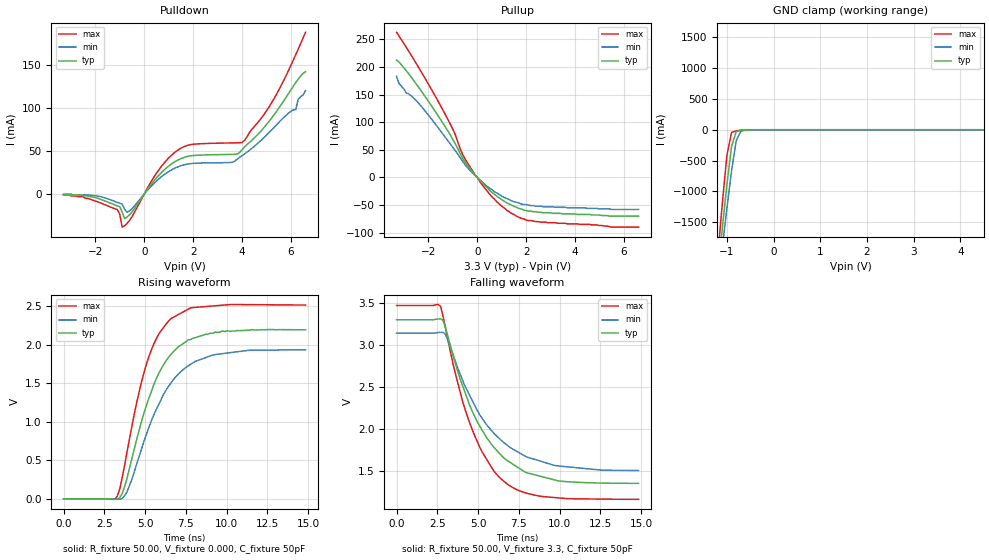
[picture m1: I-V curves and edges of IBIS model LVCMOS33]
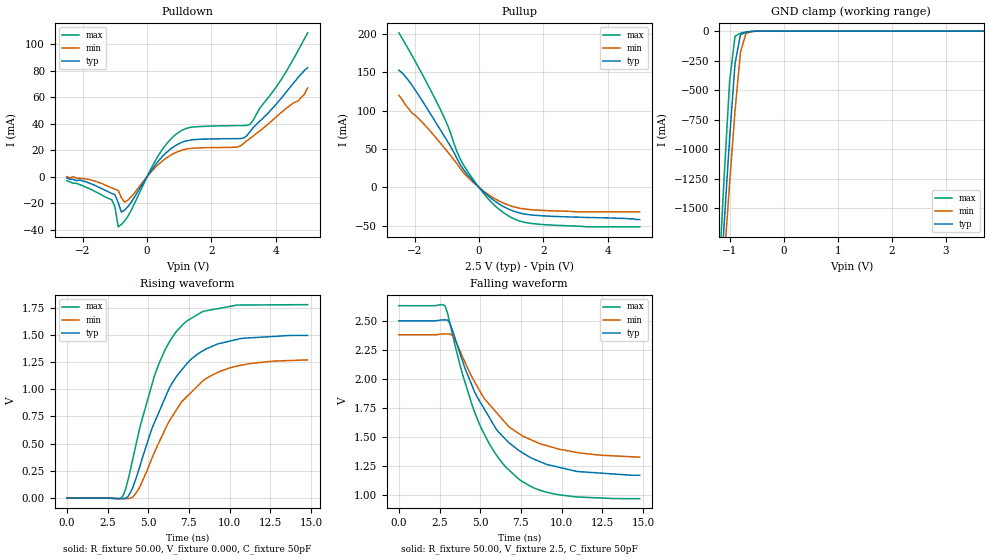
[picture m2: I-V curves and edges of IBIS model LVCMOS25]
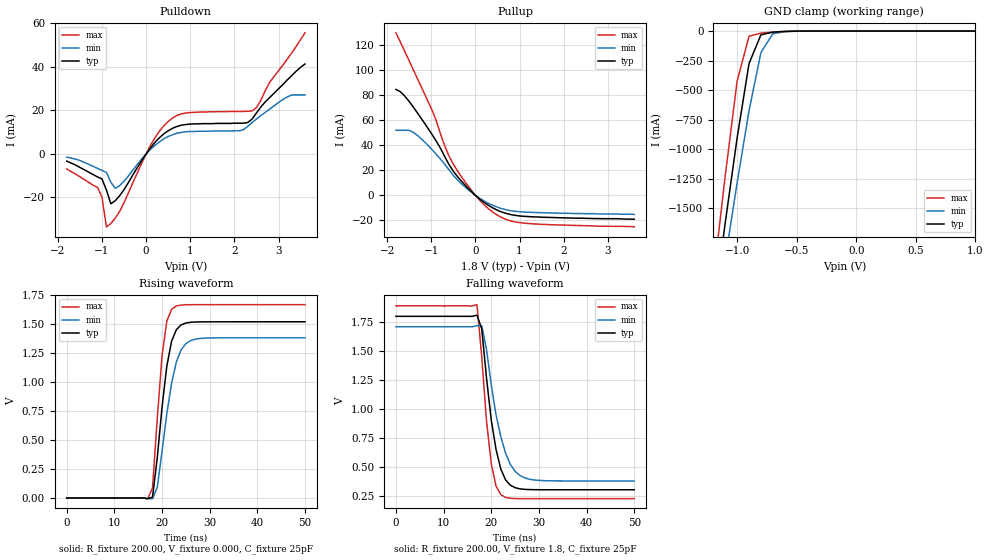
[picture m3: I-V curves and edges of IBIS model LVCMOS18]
|IBIS file ice65_io.ibs
|created by SiliconBlue Technologies Aug 2009
[IBIS ver]   2.1
[File name]   ice65_io.ibs
[File Rev]   1.2
[Date]   09/10/2009
[Source]   Simulation
[Disclaimer]   This information is for modeling purposes only and is not
   guaranteed.
[Copyright]   Copyright 2009, Design Service, SBT, All Rights Reserved.
|   Component ice65_io
[Component]   ice65_io
[Manufacturer]   TSMC
[Package]
| variable   typ   min   max
R_pkg   0.30   0.21   0.39
L_pkg   7.00nH   4.90nH   9.10nH
C_pkg   3.00pF   2.10pF   3.90pF
[Pin]  signal_name   model_name   R_pin   L_pin   C_pin
1   SB_LVCMOS33   LVCMOS33
2   SB_LVCMOS25   LVCMOS25
3   SB_LVCMOS18   LVCMOS18
4   SB_LVCMOS33_8   LVCMOS33_8
5   SB_LVCMOS18_10   LVCMOS18_10
6   SB_LVCMOS18_8   LVCMOS18_8
7   SB_LVCMOS18_4   LVCMOS18_4
8   SB_LVCMOS18_2   LVCMOS18_2
9   SB_LVCMOS15_4   LVCMOS15_4
10   SB_LVCMOS15_2   LVCMOS15_2
11   SB_SSTL18_H   SSTL18_H
12   SB_SSTL18_F   SSTL18_F
13   SB_SSTL2_I   SSTL2_I
14   SB_SSTL2_II   SSTL2_II
15   SB_LVCMOS25_16   LVCMOS25_16
16   SB_LVCMOS25_12   LVCMOS25_12
17   SB_LVCMOS25_8   LVCMOS25_8
18   SB_LVCMOS25_4   LVCMOS25_4
19   MDDR_10   MDDR_10
20   MDDR_8   MDDR_8
21   MDDR_4   MDDR_4
22   MDDR_2   MDDR_2
| Models and submodels in the file (22): LVCMOS33 (I/O), LVCMOS25 (I/O), LVCMOS18 (I/O), LVCMOS33_8 (I/O), LVCMOS18_10 (I/O), LVCMOS18_8 (I/O), LVCMOS18_4 (I/O), LVCMOS18_2 (I/O), LVCMOS15_4 (I/O), LVCMOS15_2 (I/O), SSTL18_H (I/O), SSTL18_F (I/O), SSTL2_I (I/O), SSTL2_II (I/O), LVCMOS25_16 (I/O), LVCMOS25_12 (I/O), LVCMOS25_8 (I/O), LVCMOS25_4 (I/O), MDDR_10 (I/O), MDDR_8 (I/O), MDDR_4 (I/O), MDDR_2 (I/O)
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|   Model LVCMOS33
[Model]   LVCMOS33
Model_type   I/O
Polarity   Non-Inverting
Enable   Active-High
Vinl =   0.80V
Vinh =   2.00V
Vmeas =   1.65V
Cref =  15.00pF
Rref =   1.00M
Vref =  0.000V
C_comp   1.30pF   1.17pF   1.43pF
[Temperature Range]   25.00   85   -40.00
[Voltage Range]   3.30V   3.14V   3.47V
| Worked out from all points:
|   slope of the pulldown table from 0 to 0.495 V, typ, clamps not added: 26.7 ohm
|   slope of the pullup table from 0 to 0.495 V, typ, clamps not added: 21.8 ohm
|   GND clamp passes 1 mA (typ) near -0.51 V on its own axis
|   rising waveform, R_fixture 50.00, V_fixture 0.000, C_fixture 50pF: 20-80 % time 2.08ns typ, 2.35ns min, 1.74ns max; typ from 0 V to 2.19 V
|   falling waveform, R_fixture 50.00, V_fixture 3.3, C_fixture 50pF: 20-80 % time 2.75ns typ, 3.03ns min, 2.37ns max; typ from 3.3 V to 1.35 V
[Pulldown]
| voltage I(typ) I(min) I(max)
-3.3V     -1mA       0A         -1mA
-1.1V     -13.7mA    -9.7mA     -17.9mA
-900mV    -20.9mA    -11.5mA    -38.3mA
-800mV    -28.3mA    -17.5mA    -36.6mA
-500mV    -20.8mA    -17mA      -26.2mA
500mV     18.7mA     15.1mA     24.1mA
1.3V      38.3mA     30.7mA     49.4mA
3.6V      46mA       36.9mA     59.3mA
4.1V      54.6mA     46.5mA     62.1mA
5.3V      91.5mA     77mA       110.1mA
6.2V      129.3mA    97.9mA     161.7mA
6.6V      141.8mA    120mA      187.5mA
[Pullup]
| voltage I(typ) I(min) I(max)
-3.3V     212.8mA    183.3mA    263mA
-3.2V     209mA      170.3mA    256.2mA
-2.9V     193.3mA    153.3mA    235.6mA
-2.4V     163.6mA    134.6mA    199.6mA
-1.5V     105mA      84.3mA     130mA
-1V       69mA       54.7mA     87.7mA
-500mV    27.6mA     23.2mA     33.6mA
300mV     -14mA      -12mA      -19mA
1V        -40mA      -34mA      -52mA
1.6V      -54mA      -45mA      -70mA
2.1V      -61mA      -50mA      -78mA
6.6V      -70mA      -58mA      -90mA
[GND_clamp]
| voltage I(typ) I(min) I(max)
-3.3V     -19.03A    -17.26A    -21.67A
-1.2V     -2.378A    -2.602A    -2.099A
-1.1V     -1.626A    -1.936A    -1.226A
-1V       -905.6mA   -1.288A    -424.1mA
-900mV    -275.9mA   -675.9mA   -43.8mA
-800mV    -31.9mA    -182.3mA   -17.3mA
-700mV    -9.5mA     -22.8mA    -8.9mA
-500mV    -800uA     -1.5mA     -300uA
6.1V      0A         0A         6.59mA
6.2V      0A         0A         193mA
6.5V      7.38mA     0A         1.845A
6.6V      130mA      0A         2.465A
[POWER_clamp]
| voltage I(typ) I(min) I(max)
-3.3V     0A         0A         0A
-3.2V     0A         0A         0A
-3.1V     0A         0A         0A
0V        0A         0A         0A
[Ramp]
| variable   typ   min   max
dV/dt_r   1.3147/2.082n   1.2408/2.27n   1.0674/1.1934n
dV/dt_f   1.1713/3.2834n   0.9855/3.5146n   1.50/3.97n
R_load = 50
[Rising Waveform]
R_fixture = 50.00
V_fixture = 0.000
V_fixture_min = 0.000
V_fixture_max = 0.000
L_fixture = 0.000H
C_fixture = 50pF
| time   V(typ)   V(min)   V(max)
0s        0V         0V         0V
3.3ns     -5mV       -5mV       35.6mV
3.9ns     270.1mV    93.4mV     611.4mV
4.5ns     780.3mV    457.2mV    1.255V
5.1ns     1.218V     845.6mV    1.754V
5.85ns    1.628V     1.227V     2.137V
6.6ns     1.874V     1.505V     2.337V
7.65ns    2.059V     1.723V     2.458V
9.15ns    2.145V     1.864V     2.499V
14.85ns   2.191V     1.932V     2.511V
[Falling Waveform]
R_fixture = 50.00
V_fixture = 3.3
V_fixture_min = 3.14
V_fixture_max = 3.47
L_fixture = 0.000H
C_fixture = 50pF
| time   V(typ)   V(min)   V(max)
0s        3.3V       3.14V      3.47V
2.7ns     3.311V     3.15V      3.462V
3ns       3.209V     3.126V     3.204V
3.6ns     2.785V     2.809V     2.667V
4.5ns     2.274V     2.392V     2.063V
5.85ns    1.808V     1.975V     1.533V
6.75ns    1.627V     1.81V      1.348V
7.95ns    1.478V     1.667V     1.233V
9.9ns     1.38V      1.558V     1.177V
14.85ns   1.349V     1.502V     1.159V
|   Model LVCMOS25
[Model]   LVCMOS25
Model_type   I/O
Polarity   Non-Inverting
Enable   Active-High
Vinl =   0.70V
Vinh =   1.70V
Vmeas =   1.25V
Cref =  15.00pF
Rref =   1.00M
Vref =  0.000V
C_comp   1.30pF   1.17pF   1.43pF
[Temperature Range]   25.00   85   -40.00
[Voltage Range]   2.5V   2.38V   2.63V
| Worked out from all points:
|   slope of the pulldown table from 0 to 0.375 V, typ, clamps not added: 30.1 ohm
|   slope of the pullup table from 0 to 0.375 V, typ, clamps not added: 26.3 ohm
|   GND clamp passes 1 mA (typ) near -0.51 V on its own axis
|   rising waveform, R_fixture 50.00, V_fixture 0.000, C_fixture 50pF: 20-80 % time 2.66ns typ, 3.02ns min, 2.21ns max; typ from 0 V to 1.5 V
|   falling waveform, R_fixture 50.00, V_fixture 2.5, C_fixture 50pF: 20-80 % time 3.18ns typ, 3.32ns min, 2.79ns max; typ from 2.5 V to 1.17 V
[Pulldown]
| voltage I(typ) I(min) I(max)
-2.5V     -1mA       0A         -3mA
-1.1V     -12.7mA    -8.5mA     -17.4mA
-1V       -13.6mA    -9.5mA     -22.9mA
-900mV    -19.7mA    -10.4mA    -37.9mA
-800mV    -26.8mA    -15.9mA    -36.1mA
-600mV    -22.7mA    -17.8mA    -30mA
200mV     7.1mA      5.5mA      9.7mA
800mV     22.1mA     17.1mA     29.9mA
1.4V      27.8mA     21.4mA     37.4mA
2.8V      28.7mA     22.3mA     38.6mA
3.2V      33.8mA     28.8mA     39.5mA
5V        82.3mA     67mA       108.6mA
[Pullup]
| voltage I(typ) I(min) I(max)
-2.5V     152.9mA    120mA      201.6mA
-2.1V     133.8mA    97.5mA     172.7mA
-1.2V     74.7mA     57.5mA     101.2mA
-900mV    54.2mA     42.2mA     72.5mA
-700mV    38.5mA     31.5mA     47.7mA
-500mV    24.1mA     20mA       30.2mA
100mV     -4.2mA     -3.5mA     -5.8mA
600mV     -21mA      -17.2mA    -27.8mA
1.1V      -31.3mA    -25.5mA    -41.2mA
1.6V      -35.8mA    -28.9mA    -46.8mA
3.4V      -39.2mA    -31.8mA    -51.4mA
5V        -41.9mA    -31.8mA    -51.4mA
[GND_clamp]
| voltage I(typ) I(min) I(max)
-2.5V     -12.64A    -11.63A    -14.16A
-1.2V     -2.378A    -2.601A    -2.1A
-1.1V     -1.627A    -1.935A    -1.227A
-1V       -905.8mA   -1.287A    -424.6mA
-900mV    -276.1mA   -675.7mA   -44.1mA
-800mV    -31.9mA    -182.1mA   -17.5mA
-700mV    -9.5mA     -22.7mA    -8.9mA
-600mV    -3.9mA     -5.2mA     -2.9mA
-500mV    -800uA     -1.5mA     -300uA
5V        0A         0A         0A
[POWER_clamp]
| voltage I(typ) I(min) I(max)
-2.5V     0A         0A         0A
-2.4V     0A         0A         0A
-2.3V     0A         0A         0A
0V        0A         0A         0A
[Ramp]
| variable   typ   min   max
dV/dt_r   0.8965/2.6578n   0.7631/3.029n   1.0674/2.209n
dV/dt_f   0.7970/3.688n   0.6332/3.60n   0.996/3.349n
R_load = 50
[Rising Waveform]
R_fixture = 50.00
V_fixture = 0.000
V_fixture_min = 0.000
V_fixture_max = 0.000
L_fixture = 0.000H
C_fixture = 50pF
| time   V(typ)   V(min)   V(max)
0s        0V         0V         0V
3.45ns    -4mV       -4mV       21.1mV
3.9ns     49.6mV     -1mV       254.4mV
4.35ns    225mV      68.7mV     556.9mV
5.4ns     699.3mV    427.1mV    1.131V
6.3ns     1.012V     709.4mV    1.435V
7.35ns    1.231V     928.3mV    1.625V
8.4ns     1.357V     1.083V     1.716V
10ns      1.443V     1.196V     1.761V
14.8ns    1.495V     1.27V      1.777V
[Falling Waveform]
R_fixture = 50.00
V_fixture = 2.5
V_fixture_min = 2.38
V_fixture_max = 2.63
L_fixture = 0.000H
C_fixture = 50pF
| time   V(typ)   V(min)   V(max)
0s        2.5V       2.38V      2.63V
2.85ns    2.508V     2.387V     2.627V
3ns       2.506V     2.388V     2.562V
3.3ns     2.416V     2.374V     2.382V
3.9ns     2.16V      2.195V     2.046V
4.95ns    1.813V     1.903V     1.612V
6ns       1.565V     1.711V     1.344V
7.35ns    1.387V     1.533V     1.141V
9.75ns    1.244V     1.4V       1.006V
14.8ns    1.171V     1.327V     970.2mV
|   Model LVCMOS18
[Model]   LVCMOS18
Model_type   I/O
Polarity   Non-Inverting
Enable   Active-High
Vinl =   0.63V
Vinh =   1.17V
Vmeas =   0.9V
Cref =  15.00pF
Rref =   1.00M
Vref =  0.000V
C_comp   1.30pF   1.17pF   1.43pF
[Temperature Range]   25.00   85   -40.00
[Voltage Range]   1.8V   1.71V   1.89V
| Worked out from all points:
|   slope of the pulldown table from 0 to 0.27 V, typ, clamps not added: 39.9 ohm
|   slope of the pullup table from 0 to 0.27 V, typ, clamps not added: 36.9 ohm
|   GND clamp passes 1 mA (typ) near -0.51 V on its own axis
|   rising waveform, R_fixture 200.00, V_fixture 0.000, C_fixture 25pF: 20-80 % time 2.5ns typ, 3.03ns min, 1.95ns max; typ from 0 V to 1.52 V
|   falling waveform, R_fixture 200.00, V_fixture 1.8, C_fixture 25pF: 20-80 % time 2.84ns typ, 3.59ns min, 2.15ns max; typ from 1.8 V to 0.305 V
[Pulldown]
| voltage I(typ) I(min) I(max)
-1.8V     -3.3mA     -1.5mA     -6.9mA
-1.1V     -10.6mA    -6.7mA     -15.4mA
-1V       -11.5mA    -7.6mA     -19.9mA
-900mV    -16.6mA    -8.5mA     -33.5mA
-800mV    -22.9mA    -13mA      -32mA
-700mV    -21.5mA    -15.8mA    -29.5mA
100mV     2.8mA      2.1mA      4mA
500mV     10.6mA     8mA        14.9mA
900mV     13.5mA     10.2mA     18.8mA
2.4V      16mA       14.4mA     19.7mA
3.2V      34mA       26.2mA     43.6mA
3.6V      41.3mA     27.1mA     55.6mA
[Pullup]
| voltage I(typ) I(min) I(max)
-1.8V     84.5mA     51.9mA     129.7mA
-1.7V     82.7mA     51.9mA     122.4mA
-1.5V     74.9mA     51.9mA     107.3mA
-1.3V     65.1mA     47.4mA     92.1mA
-1V       49.5mA     37.1mA     69.4mA
-700mV    31.3mA     25.1mA     39.9mA
-500mV    19.2mA     15.9mA     24.8mA
0V        -100uA     100uA      -100uA
300mV     -8.1mA     -6.5mA     -10.9mA
600mV     -13.4mA    -10.7mA    -17.8mA
1V        -16.5mA    -13.1mA    -21.8mA
3.6V      -19.1mA    -15.3mA    -25.2mA
[GND_clamp]
| voltage I(typ) I(min) I(max)
-1.8V     -7.066A    -6.724A    -7.612A
-1.2V     -2.377A    -2.599A    -2.1A
-1.1V     -1.626A    -1.934A    -1.227A
-1V       -905.3mA   -1.286A    -424.6mA
-900mV    -275.7mA   -674.8mA   -44.1mA
-800mV    -31.7mA    -181.4mA   -17.4mA
-700mV    -9.4mA     -22.5mA    -8.9mA
-600mV    -3.8mA     -5.1mA     -2.9mA
-500mV    -800uA     -1.5mA     -300uA
1V        0A         0A         0A
[POWER_clamp]
| voltage I(typ) I(min) I(max)
-1.8V     0A         0A         0A
-1.7V     0A         0A         0A
-1.6V     0A         0A         0A
0V        0A         0A         0A
[Ramp]
| variable   typ   min   max
dV/dt_r   0.9126/2.397n   0.82968/2.95n   1.00134/1.825n
dV/dt_f   0.897/3.416n   0.88914/4.017n   0.90546/1.983n
R_load = 200
[Rising Waveform]
R_fixture = 200.00
V_fixture = 0.000
V_fixture_min = 0.000
V_fixture_max = 0.000
L_fixture = 0.000H
C_fixture = 25pF
| time   V(typ)   V(min)   V(max)
0s        0V         0V         0V
17ns      -5.7mV     -5.3mV     -6.1mV
18ns      7.2mV      -5.8mV     86.9mV
19ns      347.1mV    91.3mV     685.8mV
20ns      783.2mV    403.1mV    1.226V
21ns      1.137V     725.7mV    1.526V
22ns      1.353V     990.5mV    1.628V
24ns      1.494V     1.279V     1.666V
26ns      1.517V     1.359V     1.669V
50ns      1.521V     1.383V     1.669V
[Falling Waveform]
R_fixture = 200.00
V_fixture = 1.8
V_fixture_min = 1.71
V_fixture_max = 1.89
L_fixture = 0.000H
C_fixture = 25pF
| time   V(typ)   V(min)   V(max)
0s        1.8V       1.71V      1.89V
17ns      1.81V      1.72V      1.901V
18ns      1.692V     1.718V     1.451V
19ns      1.268V     1.513V     896.8mV
20ns      905mV      1.208V     529.2mV
21ns      652.6mV    950.6mV    336.3mV
22ns      483.2mV    762.6mV    263.2mV
24ns      344.3mV    524.1mV    231.5mV
27ns      308.5mV    407.7mV    228.2mV
50ns      305mV      380.9mV    228.1mV
